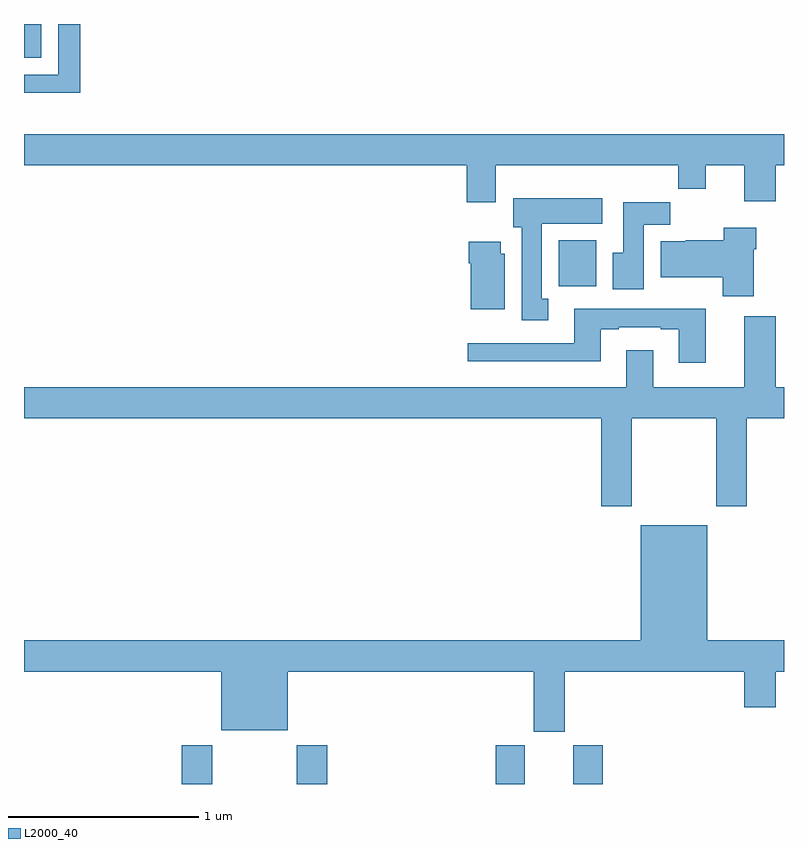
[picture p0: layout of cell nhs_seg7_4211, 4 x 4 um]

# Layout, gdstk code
import gdstk
lib = gdstk.Library(unit=1e-6, precision=1e-09)
def R(c, l, rs):  # rectangles x0, y0, x1, y1
    for r in rs: c.add(gdstk.rectangle(r[:2], r[2:], *l))
def P(c, l, *ps):  # polygons
    for p in ps: c.add(gdstk.Polygon(p, *l))
L2000_40 = (2000, 40)

nhs_seg7_4211 = lib.new_cell('nhs_seg7_4211')
R(nhs_seg7_4211, L2000_40, [(377.831,1024,377.991,1024.204), (378.436,1024,378.596,1024.204), (379.484,1024,379.636,1024.203), (379.892,1024,380.045,1024.203), (379.814,1026.62,380.011,1026.862), (377,1027.823,377.092,1028)])
P(nhs_seg7_4211, L2000_40, [(377.297,1028),(377.181,1028),(377.181,1027.734),(377,1027.734),(377,1027.638),(377.005,1027.638),(377.005,1027.637),(377.297,1027.637)],
  [(379.483,1027.256),(380.443,1027.256),(380.443,1027.132),(380.587,1027.132),(380.587,1027.256),(380.792,1027.256),(380.792,1027.068),(380.956,1027.068),(380.956,1027.256),(381,1027.256),(381,1027.42),(377,1027.42),(377,1027.256),(379.331,1027.256),(379.331,1027.062),(379.483,1027.062)],
  [(379.759,1026.554),(379.726,1026.554),(379.726,1026.95),(380.044,1026.95),(380.044,1027.084),(379.574,1027.084),(379.574,1026.93),(379.619,1026.93),(379.619,1026.441),(379.759,1026.441)],
  [(380.263,1026.944),(380.402,1026.944),(380.402,1027.063),(380.153,1027.063),(380.153,1026.796),(380.099,1026.796),(380.099,1026.603),(380.263,1026.603)],
  [(380.842,1026.815),(380.855,1026.815),(380.855,1026.928),(380.684,1026.928),(380.684,1026.862),(380.484,1026.862),(380.484,1026.856),(380.351,1026.856),(380.351,1026.668),(380.677,1026.668),(380.677,1026.567),(380.842,1026.567)],
  [(379.531,1026.792),(379.51,1026.792),(379.51,1026.853),(379.34,1026.853),(379.34,1026.74),(379.352,1026.74),(379.352,1026.5),(379.531,1026.5)],
  [(380.587,1026.502),(380.355,1026.502),(380.355,1026.501),(379.895,1026.501),(379.895,1026.321),(379.335,1026.321),(379.335,1026.224),(380.035,1026.224),(380.035,1026.393),(380.131,1026.393),(380.131,1026.405),(380.351,1026.405),(380.351,1026.393),(380.447,1026.393),(380.447,1026.216),(380.587,1026.216)],
  [(380.199,1025.924),(380.644,1025.924),(380.644,1025.463),(380.804,1025.463),(380.804,1025.924),(381,1025.924),(381,1026.088),(380.956,1026.088),(380.956,1026.463),(380.792,1026.463),(380.792,1026.088),(380.311,1026.088),(380.311,1026.283),(380.171,1026.283),(380.171,1026.088),(377,1026.088),(377,1025.924),(380.039,1025.924),(380.039,1025.463),(380.199,1025.463)],
  [(379.846,1024.592),(380.792,1024.592),(380.792,1024.404),(380.956,1024.404),(380.956,1024.592),(381,1024.592),(381,1024.756),(380.596,1024.756),(380.596,1025.362),(380.246,1025.362),(380.246,1024.756),(377,1024.756),(377,1024.592),(378.038,1024.592),(378.038,1024.283),(378.388,1024.283),(378.388,1024.592),(379.682,1024.592),(379.682,1024.275),(379.846,1024.275)])

lib.write_gds('nhs_seg7_4211.gds')
